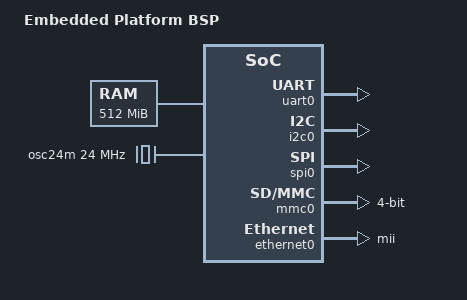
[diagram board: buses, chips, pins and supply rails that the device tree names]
/*
 * Device tree for custom board
 * Author: Jeevesh Srivastava
 * 
 * Based on reference design, modified for our board
 * TODO: add more peripherals as we test them
 */

/dts-v1/;

/ {
    model = "Embedded Platform BSP";
    compatible = "vendor,platform";
    #address-cells = <1>;
    #size-cells = <1>;

    chosen {
        bootargs = "console=ttyS0,115200 earlyprintk";
        stdout-path = &uart0;
    };

    memory@80000000 {
        device_type = "memory";
        reg = <0x80000000 0x20000000>; /* 512MB */
    };

    cpus {
        #address-cells = <1>;
        #size-cells = <0>;

        cpu@0 {
            device_type = "cpu";
            compatible = "arm,cortex-a53";
            reg = <0x0>;
            enable-method = "psci";
            cpu-idle-states = <&cpu_sleep>;
        };

        cpu@1 {
            device_type = "cpu";
            compatible = "arm,cortex-a53";
            reg = <0x1>;
            enable-method = "psci";
            cpu-idle-states = <&cpu_sleep>;
        };
    };

    psci {
        compatible = "arm,psci-1.0";
        method = "smc";
    };

    clocks {
        #address-cells = <1>;
        #size-cells = <0>;

        osc24m: osc24m {
            compatible = "fixed-clock";
            #clock-cells = <0>;
            clock-frequency = <24000000>;
        };

        pll_cpu: pll_cpu {
            compatible = "fixed-clock";
            #clock-cells = <0>;
            clock-frequency = <1008000000>;
        };
    };

    soc {
        compatible = "simple-bus";
        #address-cells = <1>;
        #size-cells = <1>;
        ranges;

        uart0: serial@01c28000 {
            compatible = "vendor,uart";
            reg = <0x01c28000 0x400>;
            interrupts = <0 0 4>;
            clocks = <&osc24m>;
            status = "okay";
        };

        uart1: serial@01c28400 {
            compatible = "vendor,uart";
            reg = <0x01c28400 0x400>;
            interrupts = <0 1 4>;
            clocks = <&osc24m>;
            status = "disabled";  // not used yet, might enable later
        };

        i2c0: i2c@01c2ac00 {
            compatible = "vendor,i2c";
            reg = <0x01c2ac00 0x400>;
            interrupts = <0 7 4>;
            clocks = <&osc24m>;
            #address-cells = <1>;
            #size-cells = <0>;
            status = "okay";
        };

        spi0: spi@01c68000 {
            compatible = "vendor,spi";
            reg = <0x01c68000 0x400>;
            interrupts = <0 65 4>;
            clocks = <&osc24m>;
            #address-cells = <1>;
            #size-cells = <0>;
            status = "okay";
        };

        gpio0: gpio@01c20800 {
            compatible = "vendor,gpio";
            reg = <0x01c20800 0x400>;
            interrupts = <0 11 4>;
            gpio-controller;
            #gpio-cells = <2>;
            interrupt-controller;
            #interrupt-cells = <2>;
        };

        timer0: timer@01c20c00 {
            compatible = "vendor,timer";
            reg = <0x01c20c00 0x400>;
            interrupts = <0 18 4>;
            clocks = <&osc24m>;
        };

        watchdog: watchdog@01c20ca0 {
            compatible = "vendor,wdt";
            reg = <0x01c20ca0 0x20>;
            interrupts = <0 19 4>;
            clocks = <&osc24m>;
        };

        mmc0: mmc@01c0f000 {
            compatible = "vendor,mmc";
            reg = <0x01c0f000 0x1000>;
            interrupts = <0 32 4>;
            clocks = <&osc24m>;
            max-frequency = <50000000>;
            bus-width = <4>;
            status = "okay";
        };

        ethernet0: ethernet@01c30000 {
            compatible = "vendor,eth";
            reg = <0x01c30000 0x1000>;
            interrupts = <0 27 4>;
            clocks = <&osc24m>;
            phy-mode = "mii";
            status = "okay";
        };
    };

    cpu-idle-states {
        cpu_sleep: cpu-sleep {
            compatible = "arm,idle-state";
            entry-latency-us = <200>;
            exit-latency-us = <200>;
            min-residency-us = <1000>;
        };
    };
};

